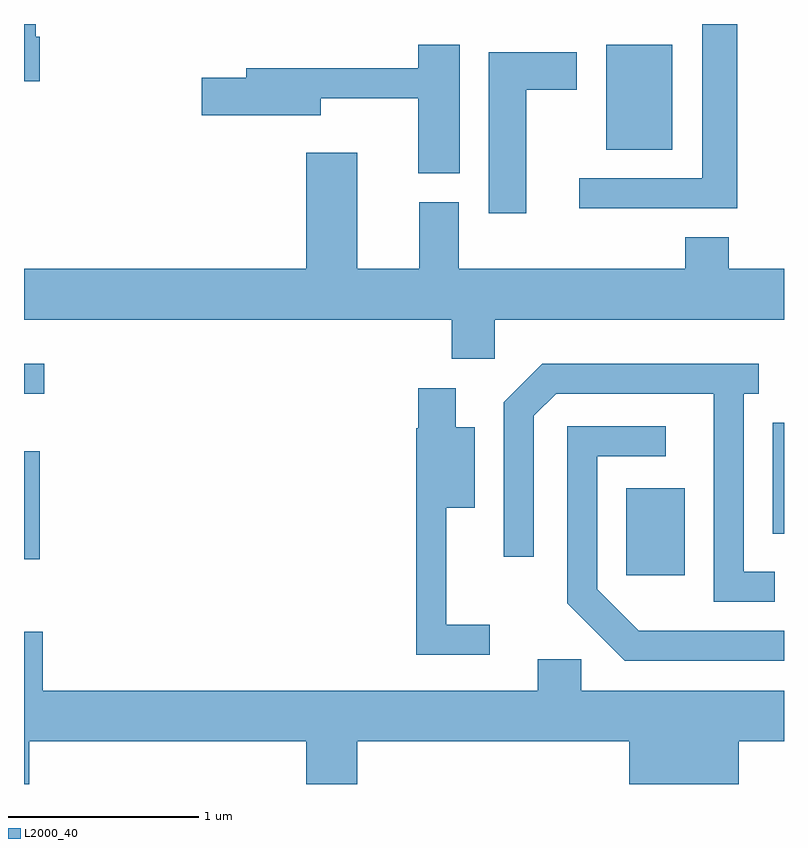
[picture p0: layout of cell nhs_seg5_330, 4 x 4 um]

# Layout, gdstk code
import gdstk
lib = gdstk.Library(unit=1e-6, precision=1e-09)
def R(c, l, rs):  # rectangles x0, y0, x1, y1
    for r in rs: c.add(gdstk.rectangle(r[:2], r[2:], *l))
def P(c, l, *ps):  # polygons
    for p in ps: c.add(gdstk.Polygon(p, *l))
L2000_40 = (2000, 40)

nhs_seg5_330 = lib.new_cell('nhs_seg5_330')
R(nhs_seg5_330, L2000_40, [(196.781,1513.171,197.089,1513.629), (193.611,1513.256,193.694,1513.824), (197.551,1513.388,197.611,1513.974), (193.611,1514.126,193.718,1514.284), (196.676,1515.411,197.024,1515.964)])
P(nhs_seg5_330, L2000_40, [(197.364,1516.072),(197.181,1516.072),(197.181,1515.259),(196.533,1515.259),(196.533,1515.101),(197.364,1515.101)],
  [(193.694,1516.004),(193.674,1516.004),(193.674,1516.072),(193.611,1516.072),(193.611,1515.771),(193.694,1515.771)],
  [(195.904,1515.964),(195.686,1515.964),(195.686,1515.839),(194.781,1515.839),(194.781,1515.789),(194.546,1515.789),(194.546,1515.591),(195.174,1515.591),(195.174,1515.681),(195.686,1515.681),(195.686,1515.286),(195.904,1515.286)],
  [(196.254,1515.726),(196.519,1515.726),(196.519,1515.924),(196.056,1515.924),(196.056,1515.076),(196.254,1515.076)],
  [(196.089,1514.516),(197.611,1514.516),(197.611,1514.784),(197.319,1514.784),(197.319,1514.949),(197.091,1514.949),(197.091,1514.784),(195.899,1514.784),(195.899,1515.134),(195.691,1515.134),(195.691,1514.784),(195.364,1514.784),(195.364,1515.394),(195.096,1515.394),(195.096,1514.784),(193.611,1514.784),(193.611,1514.516),(195.861,1514.516),(195.861,1514.311),(196.089,1514.311)],
  [(197.563,1513.189),(197.399,1513.189),(197.399,1514.126),(197.478,1514.126),(197.478,1514.284),(196.339,1514.284),(196.136,1514.082),(196.136,1513.268),(196.294,1513.268),(196.294,1514.009),(196.412,1514.126),(197.241,1514.126),(197.241,1513.031),(197.563,1513.031)],
  [(196.063,1512.909),(195.834,1512.909),(195.834,1513.526),(195.984,1513.526),(195.984,1513.949),(195.884,1513.949),(195.884,1514.154),(195.686,1514.154),(195.686,1513.945),(195.676,1513.945),(195.676,1512.751),(196.063,1512.751)],
  [(197.611,1512.879),(196.847,1512.879),(196.629,1513.097),(196.629,1513.796),(196.988,1513.796),(196.988,1513.954),(196.471,1513.954),(196.471,1513.024),(196.774,1512.721),(197.611,1512.721)],
  [(193.639,1512.296),(195.096,1512.296),(195.096,1512.072),(195.364,1512.072),(195.364,1512.296),(196.796,1512.296),(196.796,1512.072),(197.374,1512.072),(197.374,1512.296),(197.611,1512.296),(197.611,1512.564),(196.544,1512.564),(196.544,1512.729),(196.316,1512.729),(196.316,1512.564),(193.709,1512.564),(193.709,1512.874),(193.611,1512.874),(193.611,1512.072),(193.639,1512.072)])

lib.write_gds('nhs_seg5_330.gds')
